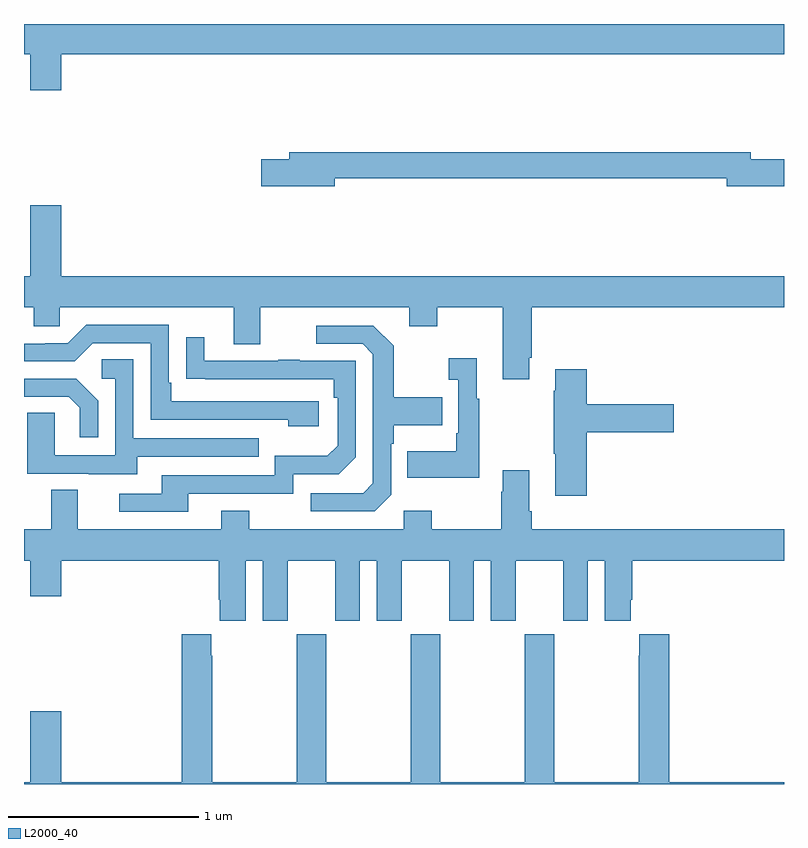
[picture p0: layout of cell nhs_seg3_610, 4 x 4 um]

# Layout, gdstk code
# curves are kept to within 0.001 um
import gdstk
lib = gdstk.Library(unit=1e-6, precision=1e-09)
def P(c, l, *ps):  # polygons
    for p in ps: c.add(gdstk.Polygon(p, *l))
L2000_40 = (2000, 40)

nhs_seg3_610 = lib.new_cell('nhs_seg3_610')
P(nhs_seg3_610, L2000_40, [(141.196,710.24),(145,710.24),(145,710.4),(141,710.4),(141,710.24),(141.032,710.24),(141.032,710.052),(141.196,710.052)],
  [(142.636,709.588),(144.698,709.588),(144.698,709.546),(145,709.546),(145,709.688),(144.826,709.688),(144.826,709.724),(142.397,709.724),(142.397,709.688),(142.248,709.688),(142.248,709.546),(142.636,709.546)],
  [(143.659,708.643),(143.672,708.643),(143.672,708.908),(145,708.908),(145,709.072),(141.196,709.072),(141.196,709.447),(141.032,709.447),(141.032,709.072),(141,709.072),(141,708.908),(141.051,708.908),(141.051,708.81),(141.189,708.81),(141.189,708.908),(142.103,708.908),(142.103,708.714),(142.243,708.714),(142.243,708.908),(143.027,708.908),(143.027,708.809),(143.175,708.809),(143.175,708.908),(143.519,708.908),(143.519,708.531),(143.659,708.531)],
  [(142.552,708.414),(141.775,708.414),(141.775,708.511),(141.762,708.511),(141.762,708.816),(141.327,708.816),(141.231,708.72),(141.113,708.72),(141.113,708.717),(141,708.717),(141,708.624),(141.267,708.624),(141.363,708.72),(141.666,708.72),(141.666,708.318),(142.391,708.318),(142.391,708.284),(142.552,708.284)],
  [(142.932,707.922),(142.932,708.191),(142.945,708.191),(142.945,708.287),(143.201,708.287),(143.201,708.435),(142.945,708.435),(142.945,708.707),(142.839,708.813),(142.539,708.813),(142.539,708.717),(142.782,708.717),(142.836,708.663),(142.836,707.982),(142.785,707.931),(142.509,707.931),(142.509,707.835),(142.845,707.835)],
  [(141.865,707.928),(142.416,707.928),(142.416,708.03),(142.656,708.03),(142.746,708.12),(142.746,708.627),(142.451,708.627),(142.451,708.632),(142.339,708.632),(142.339,708.627),(141.949,708.627),(141.949,708.751),(141.853,708.751),(141.853,708.532),(142.63,708.531),(142.63,708.434),(142.65,708.434),(142.65,708.18),(142.597,708.127),(142.32,708.127),(142.32,708.024),(141.725,708.024),(141.725,707.928),(141.501,707.928),(141.501,707.832),(141.865,707.832)],
  [(143.395,708.427),(143.383,708.427),(143.383,708.64),(143.235,708.64),(143.235,708.527),(143.286,708.527),(143.286,708.247),(143.274,708.247),(143.274,708.151),(143.017,708.151),(143.017,708.011),(143.395,708.011)],
  [(141.595,708.123),(142.235,708.123),(142.235,708.219),(141.576,708.219),(141.576,708.635),(141.408,708.635),(141.408,708.534),(141.48,708.534),(141.48,708.129),(141.162,708.129),(141.162,708.353),(141.017,708.353),(141.017,708.033),(141.341,708.033),(141.341,708.029),(141.595,708.029)],
  [(143.963,708.251),(144.421,708.251),(144.421,708.398),(143.963,708.398),(143.963,708.583),(143.795,708.583),(143.795,708.47),(143.788,708.47),(143.788,708.139),(143.795,708.139),(143.795,707.916),(143.963,707.916)],
  [(141.39,708.418),(141.274,708.534),(141,708.534),(141,708.438),(141.236,708.438),(141.293,708.381),(141.293,708.225),(141.39,708.225)],
  [(143.237,707.259),(143.368,707.259),(143.368,707.576),(143.456,707.576),(143.456,707.259),(143.587,707.259),(143.587,707.576),(143.837,707.576),(143.837,707.259),(143.968,707.259),(143.968,707.576),(144.056,707.576),(144.056,707.259),(144.193,707.259),(144.193,707.371),(144.2,707.371),(144.2,707.576),(145,707.576),(145,707.74),(143.672,707.74),(143.672,707.836),(143.659,707.836),(143.659,708.052),(143.519,708.052),(143.519,707.939),(143.512,707.939),(143.512,707.74),(143.145,707.74),(143.145,707.839),(142.998,707.839),(142.998,707.74),(142.185,707.74),(142.185,707.839),(142.037,707.839),(142.037,707.74),(141.283,707.74),(141.283,707.948),(141.143,707.948),(141.143,707.74),(141,707.74),(141,707.576),(141.032,707.576),(141.032,707.388),(141.196,707.388),(141.196,707.576),(142.025,707.576),(142.025,707.371),(142.031,707.371),(142.031,707.259),(142.168,707.259),(142.168,707.576),(142.256,707.576),(142.256,707.259),(142.387,707.259),(142.387,707.576),(142.637,707.576),(142.637,707.259),(142.768,707.259),(142.768,707.576),(142.856,707.576),(142.856,707.259),(142.987,707.259),(142.987,707.576),(143.237,707.576)],
  [(145,706.408),(144.395,706.408),(144.395,707.188),(144.239,707.188),(144.239,707.075),(144.235,707.075),(144.235,706.408),(143.79,706.408),(143.79,707.188),(143.635,707.188),(143.635,706.408),(143.19,706.408),(143.19,707.188),(143.035,707.188),(143.035,706.408),(142.59,706.408),(142.59,707.188),(142.435,707.188),(142.435,706.408),(141.99,706.408),(141.99,707.075),(141.985,707.075),(141.985,707.188),(141.83,707.188),(141.83,706.408),(141.196,706.408),(141.196,706.783),(141.032,706.783),(141.032,706.408),(141,706.408),(141,706.4),(145,706.4)])

lib.write_gds('nhs_seg3_610.gds')
